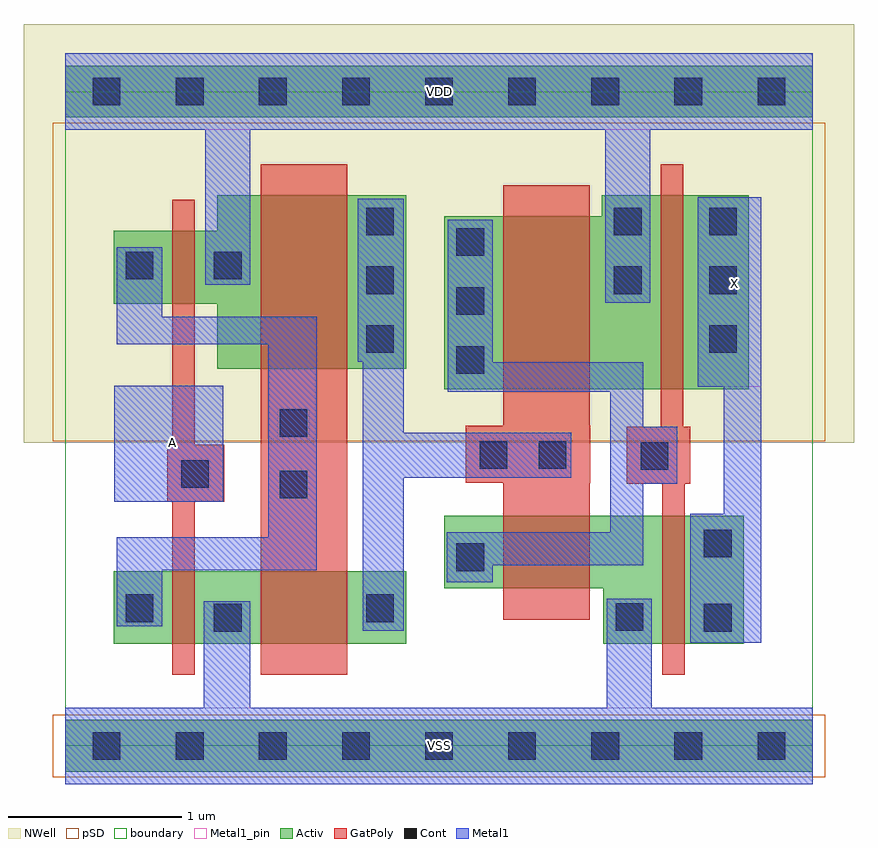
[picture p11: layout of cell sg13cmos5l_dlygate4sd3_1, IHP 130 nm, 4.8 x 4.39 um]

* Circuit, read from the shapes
.subckt sg13cmos5l_dlygate4sd3_1 A VDD VSS X
XM1 VSS A n1 VSS sg13_lv_nmos w=0.42u l=0.13u
XM2 n2 n1 VSS VSS sg13_lv_nmos w=0.42u l=0.5u
XM3 VSS n2 n3 VSS sg13_lv_nmos w=0.42u l=0.5u
XM4 X n3 VSS VSS sg13_lv_nmos w=0.74u l=0.13u
XM5 VDD A n1 VDD sg13_lv_pmos w=0.42u l=0.13u
XM6 n2 n1 VDD VDD sg13_lv_pmos w=1u l=0.5u
XM7 VDD n2 n3 VDD sg13_lv_pmos w=1u l=0.5u
XM8 X n3 VDD VDD sg13_lv_pmos w=1.12u l=0.13u
.ends

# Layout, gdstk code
import gdstk
lib = gdstk.Library(unit=1e-6, precision=1e-09)
def R(c, l, rs):  # rectangles x0, y0, x1, y1
    for r in rs: c.add(gdstk.rectangle(r[:2], r[2:], *l))
def A(c, l, x, y, w, h, nx, ny, dx, dy):  # array of equal rectangles
    R(c, l, [(x+i*dx, y+j*dy, x+i*dx+w, y+j*dy+h) for i in range(nx) for j in range(ny)])
def P(c, l, *ps):  # polygons
    for p in ps: c.add(gdstk.Polygon(p, *l))
Activ = (1, 0)
GatPoly = (5, 0)
Cont = (6, 0)
Metal1 = (8, 0)
Metal1_pin = (8, 2)
pSD = (14, 0)
NWell = (31, 0)
boundary = (189, 4)

sg13cmos5l_dlygate4sd3_1 = lib.new_cell('sg13cmos5l_dlygate4sd3_1')
R(sg13cmos5l_dlygate4sd3_1, Activ, [(0,-0.15,4.32,0.15), (0.28,0.59,1.97,1.01), (0,3.63,4.32,3.93)])
P(sg13cmos5l_dlygate4sd3_1, Activ, [(2.19,2.06),(2.19,3.06),(3.1,3.06),(3.1,3.18),(3.95,3.18),(3.95,2.06)],
  [(3.11,0.59),(3.11,0.91),(2.19,0.91),(2.19,1.33),(3.92,1.33),(3.92,0.59)],
  [(0.88,2.18),(0.88,2.555),(0.28,2.555),(0.28,2.975),(0.88,2.975),(0.88,3.18),(1.97,3.18),(1.97,2.18)])
R(sg13cmos5l_dlygate4sd3_1, GatPoly, [(1.13,0.41,1.63,3.36)])
P(sg13cmos5l_dlygate4sd3_1, GatPoly, [(0.62,0.41),(0.62,1.41),(0.59,1.41),(0.59,1.74),(0.62,1.74),(0.62,3.155),(0.75,3.155),(0.75,1.74),(0.92,1.74),(0.92,1.41),(0.75,1.41),(0.75,0.41)],
  [(3.45,0.41),(3.45,1.515),(3.245,1.515),(3.245,1.845),(3.44,1.845),(3.44,3.36),(3.57,3.36),(3.57,1.845),(3.61,1.845),(3.61,1.515),(3.58,1.515),(3.58,0.41)],
  [(2.53,0.73),(2.53,1.52),(2.315,1.52),(2.315,1.85),(2.53,1.85),(2.53,3.24),(3.03,3.24),(3.03,1.85),(3.035,1.85),(3.035,1.52),(3.03,1.52),(3.03,0.73)])
A(sg13cmos5l_dlygate4sd3_1, Cont, 2.26, 2.15, 0.16, 0.16, 1, 3, 0, 0.34)
A(sg13cmos5l_dlygate4sd3_1, Cont, 1.74, 2.27, 0.16, 0.16, 1, 3, 0, 0.34)
A(sg13cmos5l_dlygate4sd3_1, Cont, 3.72, 2.27, 0.16, 0.16, 1, 3, 0, 0.34)
R(sg13cmos5l_dlygate4sd3_1, Cont, [(0.16,-0.08,0.32,0.08), (0.16,-0.08,0.32,0.08), (0.64,-0.08,0.8,0.08), (0.64,-0.08,0.8,0.08), (1.12,-0.08,1.28,0.08), (1.12,-0.08,1.28,0.08), (1.6,-0.08,1.76,0.08), (1.6,-0.08,1.76,0.08), (2.08,-0.08,2.24,0.08), (2.08,-0.08,2.24,0.08), (2.56,-0.08,2.72,0.08), (2.56,-0.08,2.72,0.08), (3.04,-0.08,3.2,0.08), (3.04,-0.08,3.2,0.08), (3.52,-0.08,3.68,0.08), (3.52,-0.08,3.68,0.08), (4,-0.08,4.16,0.08), (4,-0.08,4.16,0.08), (0.86,0.66,1.02,0.82), (3.69,0.66,3.85,0.82), (3.18,0.665,3.34,0.825), (0.35,0.715,0.51,0.875), (1.74,0.715,1.9,0.875), (2.26,1.01,2.42,1.17), (3.69,1.09,3.85,1.25), (1.24,1.43,1.4,1.59), (0.67,1.49,0.83,1.65), (3.325,1.595,3.485,1.755), (2.395,1.6,2.555,1.76), (2.735,1.6,2.895,1.76), (1.24,1.785,1.4,1.945), (3.17,2.61,3.33,2.77), (0.35,2.695,0.51,2.855), (0.86,2.695,1.02,2.855), (3.17,2.95,3.33,3.11), (0.16,3.7,0.32,3.86), (0.16,3.7,0.32,3.86), (0.64,3.7,0.8,3.86), (0.64,3.7,0.8,3.86), (1.12,3.7,1.28,3.86), (1.12,3.7,1.28,3.86), (1.6,3.7,1.76,3.86), (1.6,3.7,1.76,3.86), (2.08,3.7,2.24,3.86), (2.08,3.7,2.24,3.86), (2.56,3.7,2.72,3.86), (2.56,3.7,2.72,3.86), (3.04,3.7,3.2,3.86), (3.04,3.7,3.2,3.86), (3.52,3.7,3.68,3.86), (3.52,3.7,3.68,3.86), (4,3.7,4.16,3.86), (4,3.7,4.16,3.86)])
R(sg13cmos5l_dlygate4sd3_1, Metal1, [(0.285,1.41,0.915,2.08)])
P(sg13cmos5l_dlygate4sd3_1, Metal1, [(3.61,0.595),(3.61,1.34),(3.805,1.34),(3.805,2.075),(3.655,2.075),(3.655,3.17),(4.02,3.17),(4.02,0.595)],
  [(0,-0.22),(0,0.22),(0.8,0.22),(0.8,0.835),(1.07,0.835),(1.07,0.22),(3.13,0.22),(3.13,0.85),(3.39,0.85),(3.39,0.22),(4.32,0.22),(4.32,-0.22)],
  [(3.12,2.56),(3.12,3.56),(1.07,3.56),(1.07,2.665),(0.81,2.665),(0.81,3.56),(0,3.56),(0,4),(4.32,4),(4.32,3.56),(3.38,3.56),(3.38,2.56)],
  [(2.205,0.945),(2.205,1.235),(3.15,1.235),(3.15,2.045),(2.21,2.045),(2.21,3.04),(2.47,3.04),(2.47,2.215),(3.34,2.215),(3.34,1.845),(3.535,1.845),(3.535,1.515),(3.34,1.515),(3.34,1.045),(2.47,1.045),(2.47,0.945)],
  [(1.72,0.665),(1.72,2.22),(1.69,2.22),(1.69,3.16),(1.955,3.16),(1.955,1.81),(2.925,1.81),(2.925,1.55),(1.955,1.55),(1.955,0.665)],
  [(0.3,0.69),(0.3,1.205),(1.175,1.205),(1.175,2.32),(0.3,2.32),(0.3,2.88),(0.56,2.88),(0.56,2.48),(1.455,2.48),(1.455,1.015),(0.56,1.015),(0.56,0.69)])
R(sg13cmos5l_dlygate4sd3_1, Metal1_pin, [(0,-0.22,4.32,0.22), (0.285,1.41,0.915,2.08), (3.655,2.075,4.02,3.17), (0,3.56,4.32,4)])
R(sg13cmos5l_dlygate4sd3_1, pSD, [(-0.07,-0.18,4.39,0.18), (-0.07,1.76,4.39,3.6)])
R(sg13cmos5l_dlygate4sd3_1, NWell, [(-0.24,1.75,4.56,4.17)])
R(sg13cmos5l_dlygate4sd3_1, boundary, [(0,0,4.32,3.78)])
sg13cmos5l_dlygate4sd3_1.add(gdstk.Label('A', (0.62,1.755), layer=8, texttype=25))
sg13cmos5l_dlygate4sd3_1.add(gdstk.Label('VDD', (2.16,3.78), layer=8, texttype=25))
sg13cmos5l_dlygate4sd3_1.add(gdstk.Label('VSS', (2.16,0), layer=8, texttype=25))
sg13cmos5l_dlygate4sd3_1.add(gdstk.Label('X', (3.865,2.67), layer=8, texttype=25))

lib.write_gds('sg13cmos5l_dlygate4sd3_1.gds')
